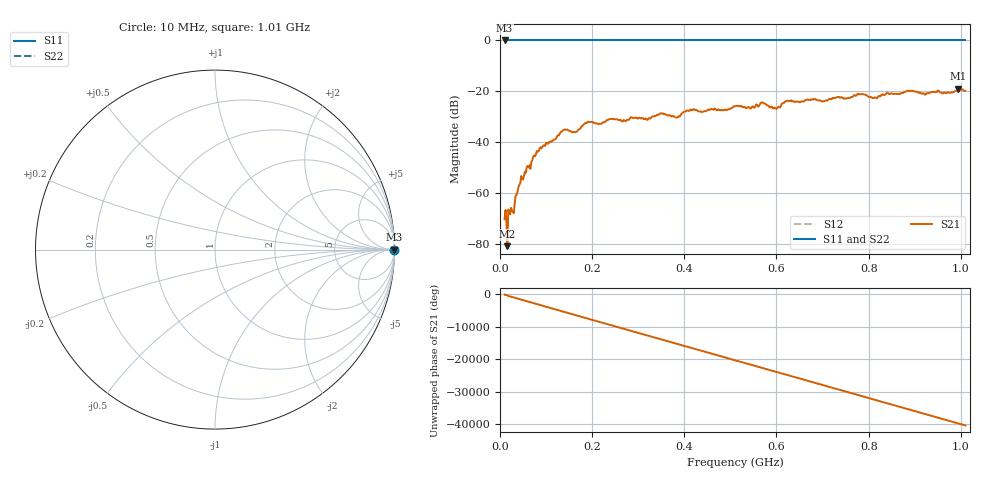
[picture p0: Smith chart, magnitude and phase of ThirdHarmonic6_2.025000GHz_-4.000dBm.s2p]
! 8/17/2025 12:18:02 AM
! C:\ANRITSUVNA\TEMP\TEMP.S2P
! CHANNEL.1
! TR.MEASUREMENT
! RAW.DATA
! RF.CORRECTION.OFF
! AVERAGING.OFF
! IF.BANDWIDTH: 5KHZ
! SWEEPTYPE:  FREQ.SWEEP(Linear)
! Reference Plane Port Info
! PORT:  PORT1  PORT2
! DISTANCE:  0  m  0  m
! TIME:  0  s  0  s
! PHASE.OFFSET:  0  deg.  0  deg.
! LOSS:  0  dB  0  dB
! REF.LOSS:  0  dB  0  dB
! REF.FREQ:  0  Hz  0  Hz
! Power Info
! POWER:  -20  dBm  -20  dBm
! EFF.POWER:  -20  dBm  -20  dBm
! SOURCE.ATTEN:  0  dB  0  dB
! TEST.ATTEN:  0  dB  0  dB
# GHZ S RI R 50.0
! FREQ.GHZ  S11RE  S11IM  S21RE  S21IM  S12RE  S12IM  S22RE  S22IM
!; PortSelection: Port_12
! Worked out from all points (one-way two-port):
!   501 points, 10 MHz to 1.01 GHz, reference 50 ohm
!   highest |S21| = -18.97 dB at 994 MHz (marker M1); lowest = -81.0 dB at 16 MHz (marker M2)
!   lowest |S11| = 0.0 dB at 10 MHz (marker M3)
!   |S11| at or under -10 dB: nowhere
!   |S22| runs from 0.0 to 0.0 dB; largest |S21 - S12| = 1.1
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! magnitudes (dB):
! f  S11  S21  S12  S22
! 10 MHz  0.0  -70.3  0.0  0.0
! 12 MHz  0.0  -66.7  0.0  0.0
! 16 MHz  0.0  -81.0  0.0  0.0
! 30 MHz  0.0  -68.0  0.0  0.0
! 44 MHz  0.0  -56.2  0.0  0.0
! 84 MHz  0.0  -43.5  0.0  0.0
! 136 MHz  0.0  -35.4  0.0  0.0
! 162 MHz  0.0  -36.1  0.0  0.0
! 178 MHz  0.0  -33.6  0.0  0.0
! 344 MHz  0.0  -29.3  0.0  0.0
! 384 MHz  0.0  -30.3  0.0  0.0
! 416 MHz  0.0  -27.4  0.0  0.0
! 510 MHz  0.0  -25.8  0.0  0.0
! 548 MHz  0.0  -25.9  0.0  0.0
! 570 MHz  0.0  -24.4  0.0  0.0
! 596 MHz  0.0  -26.4  0.0  0.0
! 622 MHz  0.0  -23.8  0.0  0.0
! 678 MHz  0.0  -23.1  0.0  0.0
! 814 MHz  0.0  -22.4  0.0  0.0
! 844 MHz  0.0  -21.0  0.0  0.0
! 994 MHz  0.0  -19.0  0.0  0.0
! 1.01 GHz  0.0  -19.8  0.0  0.0
